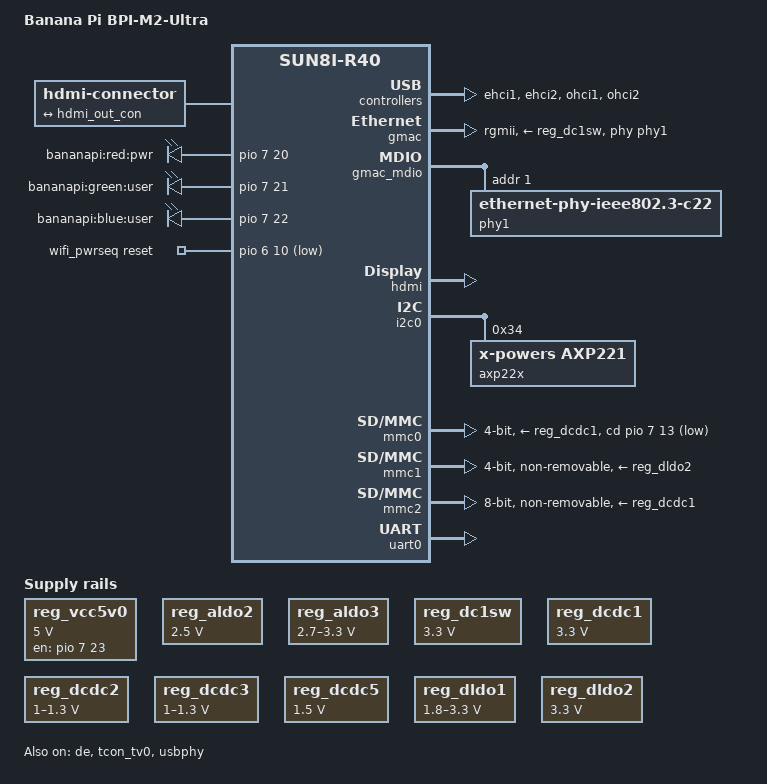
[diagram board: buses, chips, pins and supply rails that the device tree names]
/*
 * Copyright (C) 2017 Chen-Yu Tsai <wens@csie.org>
 * Copyright (C) 2017 Icenowy Zheng <icenowy@aosc.io>
 *
 * This file is dual-licensed: you can use it either under the terms
 * of the GPL or the X11 license, at your option. Note that this dual
 * licensing only applies to this file, and not this project as a
 * whole.
 *
 *  a) This file is free software; you can redistribute it and/or
 *     modify it under the terms of the GNU General Public License as
 *     published by the Free Software Foundation; either version 2 of the
 *     License, or (at your option) any later version.
 *
 *     This file is distributed in the hope that it will be useful,
 *     but WITHOUT ANY WARRANTY; without even the implied warranty of
 *     MERCHANTABILITY or FITNESS FOR A PARTICULAR PURPOSE.  See the
 *     GNU General Public License for more details.
 *
 * Or, alternatively,
 *
 *  b) Permission is hereby granted, free of charge, to any person
 *     obtaining a copy of this software and associated documentation
 *     files (the "Software"), to deal in the Software without
 *     restriction, including without limitation the rights to use,
 *     copy, modify, merge, publish, distribute, sublicense, and/or
 *     sell copies of the Software, and to permit persons to whom the
 *     Software is furnished to do so, subject to the following
 *     conditions:
 *
 *     The above copyright notice and this permission notice shall be
 *     included in all copies or substantial portions of the Software.
 *
 *     THE SOFTWARE IS PROVIDED "AS IS", WITHOUT WARRANTY OF ANY KIND,
 *     EXPRESS OR IMPLIED, INCLUDING BUT NOT LIMITED TO THE WARRANTIES
 *     OF MERCHANTABILITY, FITNESS FOR A PARTICULAR PURPOSE AND
 *     NONINFRINGEMENT. IN NO EVENT SHALL THE AUTHORS OR COPYRIGHT
 *     HOLDERS BE LIABLE FOR ANY CLAIM, DAMAGES OR OTHER LIABILITY,
 *     WHETHER IN AN ACTION OF CONTRACT, TORT OR OTHERWISE, ARISING
 *     FROM, OUT OF OR IN CONNECTION WITH THE SOFTWARE OR THE USE OR
 *     OTHER DEALINGS IN THE SOFTWARE.
 */

/dts-v1/;
#include "sun8i-r40.dtsi"

#include <dt-bindings/gpio/gpio.h>

/ {
	model = "Banana Pi BPI-M2-Ultra";
	compatible = "sinovoip,bpi-m2-ultra", "allwinner,sun8i-r40";

	aliases {
		ethernet0 = &gmac;
		serial0 = &uart0;
	};

	chosen {
		stdout-path = "serial0:115200n8";
	};

	connector {
		compatible = "hdmi-connector";
		type = "a";

		port {
			hdmi_con_in: endpoint {
				remote-endpoint = <&hdmi_out_con>;
			};
		};
	};

	leds {
		compatible = "gpio-leds";

		pwr-led {
			label = "bananapi:red:pwr";
			gpios = <&pio 7 20 GPIO_ACTIVE_HIGH>;
			default-state = "on";
		};

		user-led-green {
			label = "bananapi:green:user";
			gpios = <&pio 7 21 GPIO_ACTIVE_HIGH>;
		};

		user-led-blue {
			label = "bananapi:blue:user";
			gpios = <&pio 7 22 GPIO_ACTIVE_HIGH>;
		};
	};

	reg_vcc5v0: vcc5v0 {
		compatible = "regulator-fixed";
		regulator-name = "vcc5v0";
		regulator-min-microvolt = <5000000>;
		regulator-max-microvolt = <5000000>;
		gpio = <&pio 7 23 GPIO_ACTIVE_HIGH>; /* PH23 */
		enable-active-high;
	};

	wifi_pwrseq: wifi_pwrseq {
		compatible = "mmc-pwrseq-simple";
		reset-gpios = <&pio 6 10 GPIO_ACTIVE_LOW>; /* PG10 WIFI_EN */
	};
};

&de {
	status = "okay";
};

&ehci1 {
	status = "okay";
};

&ehci2 {
	status = "okay";
};

&gmac {
	pinctrl-names = "default";
	pinctrl-0 = <&gmac_rgmii_pins>;
	phy-handle = <&phy1>;
	phy-mode = "rgmii";
	phy-supply = <&reg_dc1sw>;
	status = "okay";
};

&gmac_mdio {
	phy1: ethernet-phy@1 {
		compatible = "ethernet-phy-ieee802.3-c22";
		reg = <1>;
	};
};

&hdmi {
	status = "okay";
};

&hdmi_out {
	hdmi_out_con: endpoint {
		remote-endpoint = <&hdmi_con_in>;
	};
};

&i2c0 {
	status = "okay";

	axp22x: pmic@34 {
		compatible = "x-powers,axp221";
		reg = <0x34>;
		interrupt-parent = <&nmi_intc>;
		interrupts = <0 IRQ_TYPE_LEVEL_LOW>;
	};
};

#include "axp22x.dtsi"

&mmc0 {
	vmmc-supply = <&reg_dcdc1>;
	bus-width = <4>;
	cd-gpios = <&pio 7 13 GPIO_ACTIVE_HIGH>; /* PH13 */
	cd-inverted;
	status = "okay";
};

&mmc1 {
	pinctrl-names = "default";
	pinctrl-0 = <&mmc1_pg_pins>;
	vmmc-supply = <&reg_dldo2>;
	vqmmc-supply = <&reg_dldo1>;
	mmc-pwrseq = <&wifi_pwrseq>;
	bus-width = <4>;
	non-removable;
	status = "okay";
};

&mmc2 {
	vmmc-supply = <&reg_dcdc1>;
	vqmmc-supply = <&reg_dcdc1>;
	bus-width = <8>;
	non-removable;
	status = "okay";
};

&ohci1 {
	status = "okay";
};

&ohci2 {
	status = "okay";
};

&reg_aldo2 {
	regulator-always-on;
	regulator-min-microvolt = <2500000>;
	regulator-max-microvolt = <2500000>;
	regulator-name = "vcc-pa";
};

&reg_aldo3 {
	regulator-always-on;
	regulator-min-microvolt = <2700000>;
	regulator-max-microvolt = <3300000>;
	regulator-name = "avcc";
};

&reg_dc1sw {
	regulator-min-microvolt = <3300000>;
	regulator-max-microvolt = <3300000>;
	regulator-name = "vcc-gmac-phy";
};

&reg_dcdc1 {
	regulator-always-on;
	regulator-min-microvolt = <3300000>;
	regulator-max-microvolt = <3300000>;
	regulator-name = "vcc-3v3";
};

&reg_dcdc2 {
	regulator-always-on;
	regulator-min-microvolt = <1000000>;
	regulator-max-microvolt = <1300000>;
	regulator-name = "vdd-cpu";
};

&reg_dcdc3 {
	regulator-always-on;
	regulator-min-microvolt = <1000000>;
	regulator-max-microvolt = <1300000>;
	regulator-name = "vdd-sys";
};

&reg_dcdc5 {
	regulator-always-on;
	regulator-min-microvolt = <1500000>;
	regulator-max-microvolt = <1500000>;
	regulator-name = "vcc-dram";
};

&reg_dldo1 {
	regulator-min-microvolt = <1800000>;
	regulator-max-microvolt = <3300000>;
	regulator-name = "vcc-wifi-io";
};

&reg_dldo2 {
	regulator-min-microvolt = <3300000>;
	regulator-max-microvolt = <3300000>;
	regulator-name = "vcc-wifi";
};

&tcon_tv0 {
	status = "okay";
};

&uart0 {
	pinctrl-names = "default";
	pinctrl-0 = <&uart0_pb_pins>;
	status = "okay";
};

&usbphy {
	usb1_vbus-supply = <&reg_vcc5v0>;
	usb2_vbus-supply = <&reg_vcc5v0>;
	status = "okay";
};
